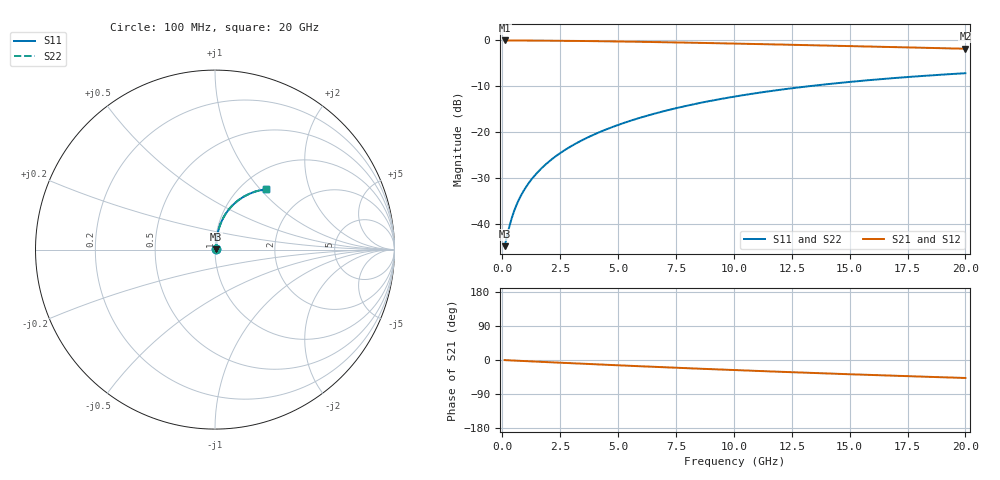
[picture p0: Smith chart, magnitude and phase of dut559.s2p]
! Touchstone file exported from HFSS 2024.1.0
!  File:  C:/UserFiles/LocalFiles/RDL_TSV_Batchsim/temp_RDL_bottom_559_1779689720.aedt
!  Generated:  02:17:40 PM May 25, 2026
!  Design:  RDL_bottom
!  Project:  temp_RDL_bottom_559_1779689720
!  Setup:  Setup1
!  Solution:  Sweep
! Variables:
!  dtsv = 10.80580581um
!  hbump = 3um
!  htsv = 99.69um
!  ldown = 631.16um
!  lrdl = 100um
!  p = 40
!  p1 = 55.06um
!  rhole = 1um
!  t = 450um
!  tdown = 2.12um
!  trdl = 3.915915916um
!  wdown = 21.4um
!  wrdl = 20um
# GHz S MA R 50.000000
! Terminal data exported
! Port[1] = RDL1_T1
! Port[2] = RDL1_T2
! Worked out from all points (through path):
!   200 points, 100 MHz to 20 GHz, reference 50 ohm
!   highest |S21| = -0.05 dB at 100 MHz (marker M1); lowest = -1.8 dB at 20 GHz (marker M2)
!   group delay of S21, straight-line fit = 6.56 ps
!   lowest |S11| = -44.7 dB at 100 MHz (marker M3), VSWR 1.01, Z = 50.5 + j0.259 ohm
!   |S11| at or under -10 dB: start of sweep to 13.21 GHz
!   |S22| runs from -44.7 to -7.2 dB; largest |S21 - S12| = 3.4e-15
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0.1  0.005806 26.2  0.9948 -0.3  0.9948 -0.3  0.005806 26.2
! Gamma 0 0 0 0
! Port Impedance 50 0 50 0
0.3  0.009375 54.1  0.9945 -0.9  0.9945 -0.9  0.009375 54.1
0.4  0.01153 60.4  0.9942 -1.2  0.9942 -1.2  0.01153 60.4
0.5  0.01375 64.5  0.9939 -1.5  0.9939 -1.5  0.01375 64.5
0.6  0.01598 67.4  0.9937 -1.8  0.9937 -1.8  0.01598 67.4
0.7  0.01821 69.7  0.9934 -2.1  0.9934 -2.1  0.01821 69.7
0.9  0.02268 72.8  0.9929 -2.6  0.9929 -2.6  0.02268 72.8
1.2  0.02943 75.8  0.992 -3.5  0.992 -3.5  0.02943 75.8
1.4  0.03397 77.1  0.9914 -4.1  0.9914 -4.1  0.03397 77.1
1.7  0.04084 78.5  0.9903 -4.9  0.9903 -4.9  0.04084 78.5
2.2  0.05244 79.8  0.9883 -6.3  0.9883 -6.3  0.05244 79.8
2.8  0.0666 80.5  0.9854 -8.0  0.9854 -8.0  0.06661 80.5
3.5  0.08341 80.6  0.9812 -9.9  0.9812 -9.9  0.08342 80.6
4.2  0.1005 80.2  0.9764 -11.8  0.9764 -11.8  0.1005 80.2
5  0.1203 79.4  0.9702 -14.0  0.9702 -14.0  0.1203 79.4
6.8  0.1653 76.7  0.9541 -18.7  0.9541 -18.7  0.1654 76.7
8.4  0.2051 73.6  0.938 -22.7  0.938 -22.7  0.2052 73.7
10.1  0.2462 70.1  0.9198 -26.7  0.9198 -26.7  0.2464 70.1
11.7  0.2832 66.7  0.9019 -30.4  0.9019 -30.4  0.2834 66.7
13.4  0.3202 63.0  0.8826 -34.2  0.8826 -34.2  0.3204 63.1
16.7  0.3845 56.2  0.8451 -41.1  0.8451 -41.1  0.3848 56.2
20  0.4387 49.8  0.8087 -47.4  0.8087 -47.4  0.439 49.9
